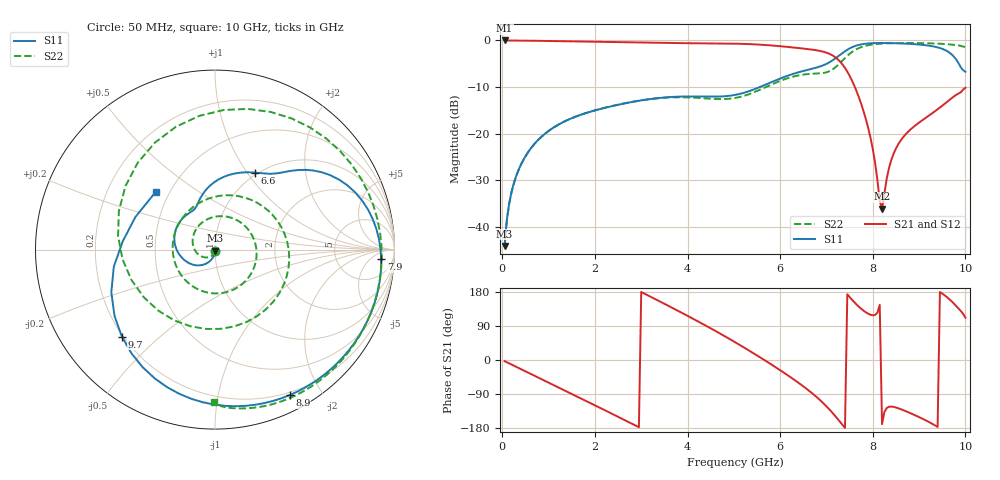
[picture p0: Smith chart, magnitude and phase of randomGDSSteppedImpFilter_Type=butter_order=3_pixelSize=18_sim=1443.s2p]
! freq	dB(S11)	phase(S11)	dB(S12)	phase(S12)
!  dB(S21)	phase(S21)	dB(S22)	phase(S22)
!S-par simulation data
#  GHz  S  DB  R 50
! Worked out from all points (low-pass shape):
!   200 points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, 50 MHz to 10 GHz, reference 50 ohm
!   highest |S21| = -0.01 dB at 50 MHz (marker M1); lowest = -36.1 dB at 8.2 GHz (marker M2)
!   |S21| within 3 dB of the highest: start of sweep to 7.091 GHz
!   lowest |S11| = -44.1 dB at 50 MHz (marker M3), VSWR 1.01, Z = 50.1 - j0.62 ohm
!   |S11| at or under -10 dB: start of sweep to 5.563 GHz
!   |S22| runs from -44.1 to -0.6 dB; largest |S21 - S12| = 0
!   S11 on the Smith chart (normalised r, x): 50 MHz: 1.00, -0.01; 6.6 GHz: 0.97, +1.09; 7.9 GHz: 17, -13; 8.9 GHz: 0.17, -1.62; 9.7 GHz: 0.20, -0.38; 10 GHz: 0.42, +0.34
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0.05  -44.10 -83.2  -0.01 -3.0  -0.01 -3.0  -44.15 -85.3
0.2  -32.49 -96.3  -0.03 -12.0  -0.03 -12.0  -32.55 -104.7
0.5  -24.86 -109.3  -0.06 -29.9  -0.06 -29.9  -24.89 -131.2
1.15  -18.42 -133.1  -0.15 -68.7  -0.15 -68.7  -18.44 174.0
1.75  -15.77 -152.3  -0.24 -104.6  -0.24 -104.6  -15.76 121.3
2.65  -13.50 -178.4  -0.40 -159.0  -0.40 -159.0  -13.47 39.3
3.4  -12.34 157.9  -0.53 154.7  -0.53 154.7  -12.38 -28.8
4.3  -12.05 129.4  -0.62 97.0  -0.62 97.0  -12.38 -114.8
5.05  -11.65 113.5  -0.71 45.3  -0.71 45.3  -12.31 156.0
5.8  -9.00 95.0  -1.08 -11.0  -1.08 -11.0  -9.53 60.1
6.6  -6.30 62.4  -1.87 -78.8  -1.87 -78.8  -7.22 -41.8
6.7  -6.05 58.7  -2.00 -88.6  -2.00 -88.6  -7.15 -57.9
7  -5.04 49.8  -2.63 -122.3  -2.63 -122.3  -6.84 -120.0
7.3  -3.05 38.7  -4.61 -164.2  -4.61 -164.2  -4.77 158.1
7.6  -1.27 18.4  -9.70 152.6  -9.70 152.6  -2.17 86.4
7.9  -0.65 -3.3  -18.73 122.2  -18.73 122.2  -1.04 38.1
8.2  -0.56 -22.3  -36.08 -169.3  -36.08 -169.3  -0.68 6.0
8.35  -0.58 -31.2  -27.40 -123.4  -27.40 -123.4  -0.61 -6.5
8.9  -0.81 -62.8  -18.39 -145.0  -18.39 -145.0  -0.56 -41.4
9.4  -1.50 -99.0  -14.78 -176.6  -14.78 -176.6  -0.69 -65.8
9.7  -2.97 -137.0  -12.41 155.2  -12.41 155.2  -0.90 -79.0
10  -6.73 135.6  -10.17 111.7  -10.17 111.7  -1.42 -90.5
